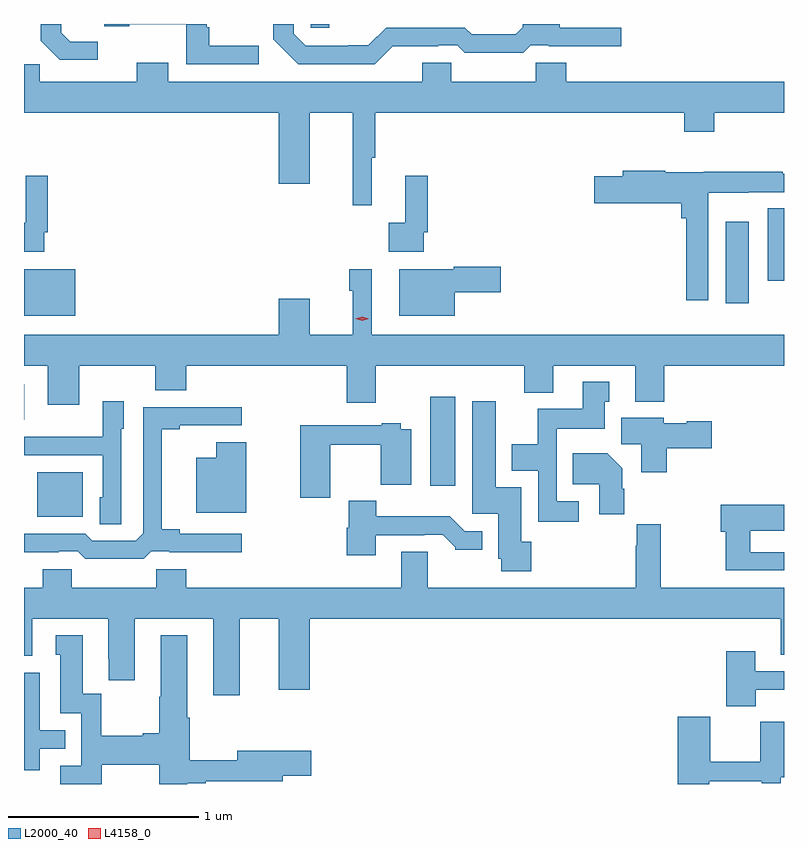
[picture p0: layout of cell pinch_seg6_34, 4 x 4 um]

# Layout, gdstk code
import gdstk
lib = gdstk.Library(unit=1e-6, precision=1e-09)
def R(c, l, rs):  # rectangles x0, y0, x1, y1
    for r in rs: c.add(gdstk.rectangle(r[:2], r[2:], *l))
def P(c, l, *ps):  # polygons
    for p in ps: c.add(gdstk.Polygon(p, *l))
L2000_40 = (2000, 40)
L4158_0 = (4158, 0)

pinch_seg6_34 = lib.new_cell('pinch_seg6_34')
R(pinch_seg6_34, L2000_40, [(966.932,959.861,967.171,960.097), (969.002,960.024,969.133,960.493), (966.863,960.372,966.865,960.559), (966.863,960.92,967.132,961.165), (970.556,960.984,970.678,961.414), (970.778,961.104,970.863,961.484), (968.373,962.436,968.469,962.455)])
P(pinch_seg6_34, L2000_40, [(968.804,962.339),(969.044,962.339),(969.044,962.343),(969.144,962.343),(969.184,962.304),(969.491,962.304),(969.531,962.343),(969.625,962.343),(969.625,962.339),(970.006,962.339),(970.006,962.436),(969.682,962.436),(969.682,962.455),(969.489,962.455),(969.489,962.439),(969.45,962.4),(969.219,962.4),(969.183,962.436),(968.769,962.436),(968.675,962.342),(968.57,962.342),(968.57,962.34),(968.346,962.34),(968.283,962.403),(968.283,962.455),(968.176,962.455),(968.176,962.375),(968.306,962.244),(968.709,962.244)],
  [(968.098,962.341),(967.837,962.341),(967.837,962.437),(967.824,962.437),(967.824,962.455),(967.181,962.455),(967.181,962.454),(967.285,962.454),(967.285,962.442),(967.417,962.442),(967.417,962.453),(967.716,962.453),(967.716,962.244),(968.098,962.244)],
  [(967.252,962.361),(967.107,962.361),(967.06,962.408),(967.06,962.455),(966.951,962.455),(966.951,962.367),(967.051,962.267),(967.252,962.267)],
  [(968.693,961.752),(968.711,961.752),(968.711,961.988),(970.337,961.988),(970.337,961.889),(970.497,961.889),(970.497,961.988),(970.863,961.988),(970.863,962.152),(969.716,962.152),(969.716,962.25),(969.556,962.25),(969.556,962.152),(969.111,962.152),(969.111,962.25),(968.96,962.25),(968.96,962.152),(967.621,962.152),(967.621,962.251),(967.457,962.251),(967.457,962.152),(966.947,962.152),(966.947,962.243),(966.863,962.243),(966.863,961.988),(968.204,961.988),(968.204,961.614),(968.368,961.614),(968.368,961.988),(968.593,961.988),(968.593,961.5),(968.693,961.5)],
  [(970.464,961.568),(970.674,961.568),(970.674,961.569),(970.863,961.569),(970.863,961.668),(970.856,961.668),(970.856,961.678),(970.44,961.678),(970.44,961.675),(970.238,961.675),(970.238,961.683),(970.013,961.683),(970.013,961.653),(969.864,961.653),(969.864,961.511),(970.322,961.511),(970.322,961.433),(970.348,961.433),(970.348,961.002),(970.464,961.002)],
  [(966.969,961.36),(966.989,961.36),(966.989,961.657),(966.872,961.657),(966.872,961.409),(966.863,961.409),(966.863,961.256),(966.969,961.256)],
  [(968.967,961.36),(968.987,961.36),(968.987,961.657),(968.87,961.657),(968.87,961.409),(968.784,961.409),(968.784,961.256),(968.967,961.256)],
  [(969.13,961.043),(969.373,961.043),(969.373,961.178),(969.126,961.178),(969.126,961.165),(968.837,961.165),(968.837,960.92),(969.13,960.92)],
  [(967.153,960.656),(967.553,960.656),(967.553,960.528),(967.717,960.528),(967.717,960.656),(968.561,960.656),(968.561,960.462),(968.713,960.462),(968.713,960.656),(969.497,960.656),(969.497,960.515),(969.649,960.515),(969.649,960.656),(970.079,960.656),(970.079,960.467),(970.232,960.467),(970.232,960.656),(970.863,960.656),(970.863,960.82),(968.692,960.82),(968.692,961.165),(968.575,961.165),(968.575,961.052),(968.593,961.052),(968.593,960.82),(968.368,960.82),(968.368,961.009),(968.204,961.009),(968.204,960.82),(966.863,960.82),(966.863,960.656),(966.989,960.656),(966.989,960.45),(967.153,960.45)],
  [(969.784,959.943),(969.666,959.943),(969.666,960.326),(969.919,960.326),(969.919,960.468),(969.943,960.468),(969.943,960.571),(969.803,960.571),(969.803,960.43),(969.568,960.43),(969.568,960.244),(969.431,960.244),(969.431,960.104),(969.57,960.104),(969.57,959.835),(969.784,959.835)],
  [(969.533,959.73),(969.481,959.73),(969.481,960.016),(969.346,960.016),(969.346,960.469),(969.221,960.469),(969.221,959.877),(969.359,959.877),(969.359,959.64),(969.376,959.64),(969.376,959.574),(969.533,959.574)],
  [(967.374,960.324),(967.387,960.324),(967.387,960.469),(967.278,960.469),(967.278,960.283),(966.961,960.283),(966.961,960.282),(966.863,960.282),(966.863,960.186),(967.278,960.186),(967.278,959.964),(967.262,959.964),(967.262,959.821),(967.374,959.821)],
  [(967.533,959.679),(967.627,959.679),(967.627,959.675),(968.008,959.675),(968.008,959.772),(967.684,959.772),(967.684,959.795),(967.589,959.795),(967.589,960.322),(967.684,960.322),(967.684,960.342),(968.008,960.342),(968.008,960.438),(967.491,960.438),(967.491,959.775),(967.452,959.736),(967.221,959.736),(967.185,959.772),(966.863,959.772),(966.863,959.675),(967.046,959.675),(967.046,959.679),(967.146,959.679),(967.186,959.64),(967.493,959.64)],
  [(970.247,960.221),(970.483,960.221),(970.483,960.363),(970.35,960.363),(970.35,960.355),(970.23,960.355),(970.23,960.382),(970.007,960.382),(970.007,960.244),(970.112,960.244),(970.112,960.096),(970.247,960.096)],
  [(968.476,960.241),(968.74,960.241),(968.74,960.029),(968.902,960.029),(968.902,960.322),(968.847,960.322),(968.847,960.355),(968.747,960.355),(968.747,960.342),(968.318,960.342),(968.318,959.961),(968.476,959.961)],
  [(968.032,960.253),(967.874,960.253),(967.874,960.172),(967.769,960.172),(967.769,959.882),(968.032,959.882)],
  [(970.022,960.008),(970.012,960.008),(970.012,960.118),(969.934,960.196),(969.751,960.196),(969.751,960.032),(969.89,960.032),(969.89,959.874),(970.022,959.874)],
  [(968.713,959.763),(968.969,959.763),(968.969,959.766),(969.068,959.766),(969.132,959.702),(969.132,959.687),(969.274,959.687),(969.274,959.784),(969.183,959.784),(969.105,959.863),(968.716,959.863),(968.716,959.947),(968.573,959.947),(968.573,959.805),(968.561,959.805),(968.561,959.658),(968.713,959.658)],
  [(970.863,959.676),(970.685,959.676),(970.685,959.789),(970.863,959.789),(970.863,959.924),(970.531,959.924),(970.531,959.782),(970.557,959.782),(970.557,959.58),(970.863,959.58)],
  [(967.113,959.586),(966.962,959.586),(966.962,959.488),(966.863,959.488),(966.863,959.13),(966.907,959.13),(966.907,959.324),(967.307,959.324),(967.307,959.113),(967.31,959.113),(967.31,959.001),(967.447,959.001),(967.447,959.324),(967.859,959.324),(967.859,958.923),(967.999,958.923),(967.999,959.324),(968.204,959.324),(968.204,958.95),(968.368,958.95),(968.368,959.324),(970.847,959.324),(970.847,959.134),(970.863,959.134),(970.863,959.488),(970.213,959.488),(970.213,959.821),(970.088,959.821),(970.088,959.708),(970.084,959.708),(970.084,959.488),(968.989,959.488),(968.989,959.678),(968.849,959.678),(968.849,959.488),(967.718,959.488),(967.718,959.586),(967.558,959.586),(967.558,959.488),(967.113,959.488)],
  [(967.273,958.556),(967.576,958.556),(967.576,958.455),(967.723,958.455),(967.723,958.458),(967.819,958.458),(967.819,958.47),(968.224,958.47),(968.224,958.499),(968.374,958.499),(968.374,958.629),(967.985,958.629),(967.985,958.579),(967.736,958.579),(967.736,958.804),(967.723,958.804),(967.723,959.239),(967.583,959.239),(967.583,958.913),(967.576,958.913),(967.576,958.721),(967.487,958.721),(967.487,958.708),(967.269,958.708),(967.269,958.931),(967.171,958.931),(967.171,959.239),(967.031,959.239),(967.031,959.136),(967.055,959.136),(967.055,958.827),(967.164,958.827),(967.164,958.551),(967.055,958.551),(967.055,958.455),(967.273,958.455)],
  [(970.714,958.95),(970.863,958.95),(970.863,959.049),(970.711,959.049),(970.711,959.155),(970.559,959.155),(970.559,958.865),(970.714,958.865)],
  [(966.945,958.641),(967.079,958.641),(967.079,958.737),(966.945,958.737),(966.945,959.04),(966.863,959.04),(966.863,958.527),(966.945,958.527)],
  [(970.47,958.47),(970.745,958.47),(970.745,958.458),(970.845,958.458),(970.845,958.49),(970.863,958.49),(970.863,958.783),(970.738,958.783),(970.738,958.571),(970.474,958.571),(970.474,958.81),(970.304,958.81),(970.304,958.455),(970.47,958.455)])
P(pinch_seg6_34, L4158_0, [(968.642,960.894),(968.607,960.903),(968.607,960.904),(968.607,960.904),(968.642,960.914),(968.678,960.904),(968.678,960.904),(968.678,960.903)])

lib.write_gds('pinch_seg6_34.gds')
